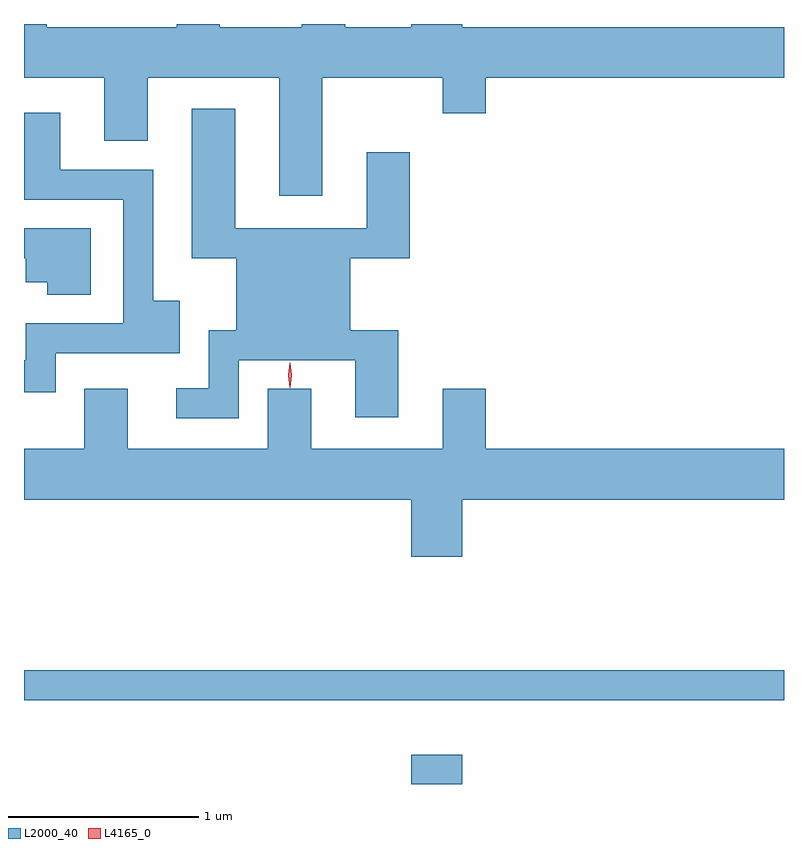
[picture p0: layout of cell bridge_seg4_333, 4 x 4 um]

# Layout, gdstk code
import gdstk
lib = gdstk.Library(unit=1e-6, precision=1e-09)
def R(c, l, rs):  # rectangles x0, y0, x1, y1
    for r in rs: c.add(gdstk.rectangle(r[:2], r[2:], *l))
def P(c, l, *ps):  # polygons
    for p in ps: c.add(gdstk.Polygon(p, *l))
L2000_40 = (2000, 40)
L4165_0 = (4165, 0)

bridge_seg4_333 = lib.new_cell('bridge_seg4_333')
R(bridge_seg4_333, L2000_40, [(634.656,1275.48,634.924,1275.634), (632.618,1275.921,636.618,1276.079)])
P(bridge_seg4_333, L2000_40, [(634.189,1279.196),(634.821,1279.196),(634.821,1279.011),(635.049,1279.011),(635.049,1279.196),(636.618,1279.196),(636.618,1279.464),(634.924,1279.464),(634.924,1279.48),(634.656,1279.48),(634.656,1279.464),(634.309,1279.464),(634.309,1279.48),(634.081,1279.48),(634.081,1279.464),(633.649,1279.464),(633.649,1279.48),(633.421,1279.48),(633.421,1279.464),(632.739,1279.464),(632.739,1279.48),(632.618,1279.48),(632.618,1279.196),(633.041,1279.196),(633.041,1278.866),(633.269,1278.866),(633.269,1279.196),(633.961,1279.196),(633.961,1278.576),(634.189,1278.576)],
  [(633.749,1277.711),(634.361,1277.711),(634.361,1277.411),(634.589,1277.411),(634.589,1277.869),(634.334,1277.869),(634.334,1278.246),(634.649,1278.246),(634.649,1278.804),(634.421,1278.804),(634.421,1278.404),(633.729,1278.404),(633.729,1279.034),(633.501,1279.034),(633.501,1278.246),(633.736,1278.246),(633.736,1277.869),(633.591,1277.869),(633.591,1277.564),(633.418,1277.564),(633.418,1277.406),(633.749,1277.406)],
  [(632.784,1277.746),(633.439,1277.746),(633.439,1278.024),(633.299,1278.024),(633.299,1278.714),(632.809,1278.714),(632.809,1279.014),(632.618,1279.014),(632.618,1278.556),(633.141,1278.556),(633.141,1277.904),(632.626,1277.904),(632.626,1277.709),(632.618,1277.709),(632.618,1277.541),(632.784,1277.541)],
  [(632.969,1278.404),(632.618,1278.404),(632.618,1278.246),(632.626,1278.246),(632.626,1278.121),(632.741,1278.121),(632.741,1278.056),(632.969,1278.056)],
  [(633.901,1277.559),(633.901,1277.244),(633.164,1277.244),(633.164,1277.559),(632.936,1277.559),(632.936,1277.244),(632.618,1277.244),(632.618,1276.976),(634.656,1276.976),(634.656,1276.676),(634.924,1276.676),(634.924,1276.976),(636.618,1276.976),(636.618,1277.244),(635.049,1277.244),(635.049,1277.559),(634.821,1277.559),(634.821,1277.244),(634.129,1277.244),(634.129,1277.559)])
P(bridge_seg4_333, L4165_0, [(634.017,1277.565),(634.008,1277.632),(634.017,1277.698),(634.018,1277.698),(634.018,1277.698),(634.028,1277.632),(634.018,1277.565),(634.018,1277.565)])

lib.write_gds('bridge_seg4_333.gds')
